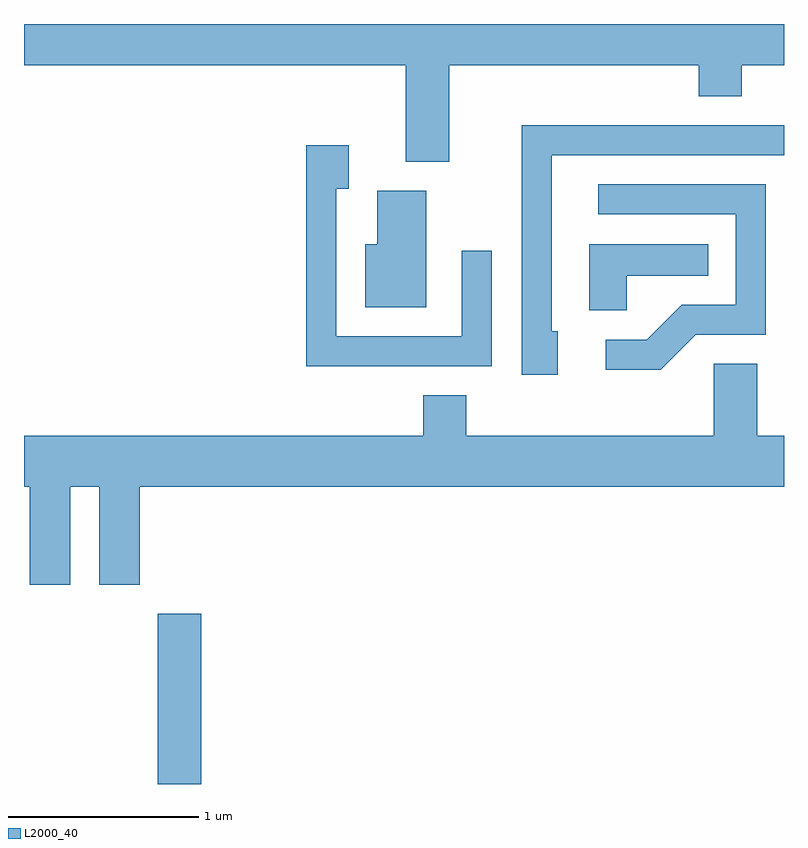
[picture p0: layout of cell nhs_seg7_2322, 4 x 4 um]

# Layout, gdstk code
import gdstk
lib = gdstk.Library(unit=1e-6, precision=1e-09)
def R(c, l, rs):  # rectangles x0, y0, x1, y1
    for r in rs: c.add(gdstk.rectangle(r[:2], r[2:], *l))
def P(c, l, *ps):  # polygons
    for p in ps: c.add(gdstk.Polygon(p, *l))
L2000_40 = (2000, 40)

nhs_seg7_2322 = lib.new_cell('nhs_seg7_2322')
R(nhs_seg7_2322, L2000_40, [(256.316,1768.252,256.544,1769.149)])
P(nhs_seg7_2322, L2000_40, [(257.849,1772.036),(259.161,1772.036),(259.161,1771.871),(259.389,1771.871),(259.389,1772.036),(259.611,1772.036),(259.611,1772.252),(255.611,1772.252),(255.611,1772.036),(257.621,1772.036),(257.621,1771.526),(257.849,1771.526)],
  [(258.419,1770.634),(258.389,1770.634),(258.389,1771.561),(259.611,1771.561),(259.611,1771.719),(258.231,1771.719),(258.231,1770.406),(258.419,1770.406)],
  [(258.074,1771.058),(257.916,1771.058),(257.916,1770.609),(257.254,1770.609),(257.254,1771.386),(257.319,1771.386),(257.319,1771.614),(257.096,1771.614),(257.096,1770.451),(258.074,1770.451)],
  [(259.147,1770.616),(259.514,1770.616),(259.514,1771.409),(258.633,1771.409),(258.633,1771.251),(259.356,1771.251),(259.356,1770.774),(259.074,1770.774),(258.889,1770.589),(258.673,1770.589),(258.673,1770.431),(258.962,1770.431)],
  [(257.729,1771.374),(257.471,1771.374),(257.471,1771.094),(257.406,1771.094),(257.406,1770.761),(257.729,1770.761)],
  [(258.784,1770.926),(259.212,1770.926),(259.212,1771.094),(258.586,1771.094),(258.586,1770.746),(258.784,1770.746)],
  [(255.854,1769.816),(256.006,1769.816),(256.006,1769.301),(256.219,1769.301),(256.219,1769.816),(259.611,1769.816),(259.611,1770.084),(259.469,1770.084),(259.469,1770.464),(259.241,1770.464),(259.241,1770.084),(257.939,1770.084),(257.939,1770.299),(257.711,1770.299),(257.711,1770.084),(255.611,1770.084),(255.611,1769.816),(255.641,1769.816),(255.641,1769.301),(255.854,1769.301)])

lib.write_gds('nhs_seg7_2322.gds')
